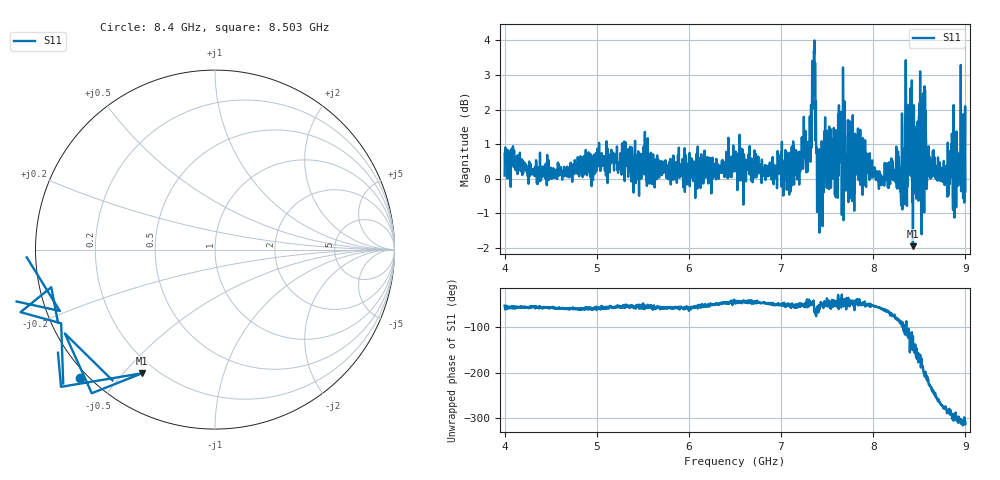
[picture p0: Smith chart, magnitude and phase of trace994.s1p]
! Created with skrf 1.8.0 (http://scikit-rf.org).
# Hz S RI R 50.0
!freq ReS11 ImS11
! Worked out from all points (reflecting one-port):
!   1601 points, 4 GHz to 9 GHz, reference 50 ohm
!   lowest |S11| = -1.9 dB at 8.431 GHz (marker M1), VSWR 8.96, Z = 7.38 - j28.1 ohm
!   phase of S11 starts at -54 deg and turns -258 deg over the sweep
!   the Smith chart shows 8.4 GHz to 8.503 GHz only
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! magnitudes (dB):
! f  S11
! 4 GHz  0.1
! 4.625 GHz  0.0
! 5.25 GHz  0.5
! 5.875 GHz  0.3
! 6.5 GHz  0.2
! 7.125 GHz  0.4
! 7.297 GHz  0.6
! 7.353 GHz  2.4
! 7.362 GHz  4.0
! 7.4 GHz  -0.5
! 7.412 GHz  0.0
! 7.525 GHz  0.9
! 7.591 GHz  1.4
! 7.65 GHz  1.9
! 7.703 GHz  0.7
! 7.75 GHz  0.4
! 7.85 GHz  0.3
! 8.075 GHz  0.0
! 8.316 GHz  -0.9
! 8.334 GHz  0.8
! 8.375 GHz  -0.2
! 8.431 GHz  -1.9
! 8.45 GHz  0.3
! 8.522 GHz  2.2
! 8.603 GHz  0.9
! 8.778 GHz  0.3
! 8.972 GHz  0.4
! 9 GHz  -0.4
